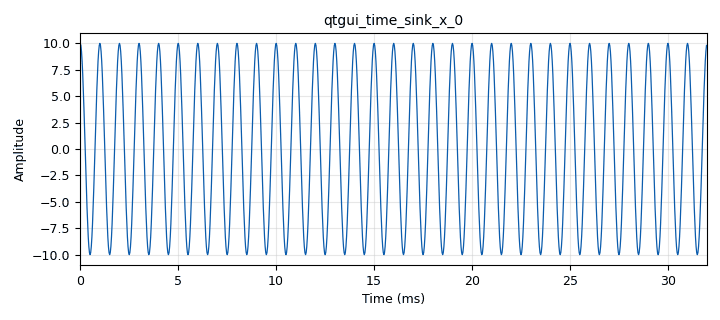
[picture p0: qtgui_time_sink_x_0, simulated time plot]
options:
  parameters:
    generate_options: qt_gui
    id: punto2
    output_language: python
    title: PruebaPotencia
  states: {}

blocks:
- name: samp_rate
  id: variable
  parameters:
    value: '32000'
  states: {}
- name: CalculoPotenciaJ1C_0
  id: CalculoPotenciaJ1C
  parameters:
    I_vect: '1024'
  states: {}
- name: I_vect
  id: parameter
  parameters:
    label: Longitud FFT
    type: intx
    value: '1024'
  states: {}
- name: analog_sig_source_x_0
  id: analog_sig_source_x
  parameters:
    amp: '10'
    freq: '1000'
    offset: '0'
    phase: '0'
    samp_rate: samp_rate
    type: float
    waveform: analog.GR_COS_WAVE
  states: {}
- name: blocks_throttle_0
  id: blocks_throttle
  parameters:
    samples_per_second: samp_rate
    type: float
  states: {}
- name: qtgui_time_sink_x_0
  id: qtgui_time_sink_x
  parameters:
    autoscale: 'True'
    grid: 'True'
    size: '1024'
    srate: samp_rate
    type: float
  states: {}

connections:
- [analog_sig_source_x_0, '0', blocks_throttle_0, '0']
- [blocks_throttle_0, '0', CalculoPotenciaJ1C_0, '0']
- [blocks_throttle_0, '0', qtgui_time_sink_x_0, '0']

metadata:
  file_format: 1
